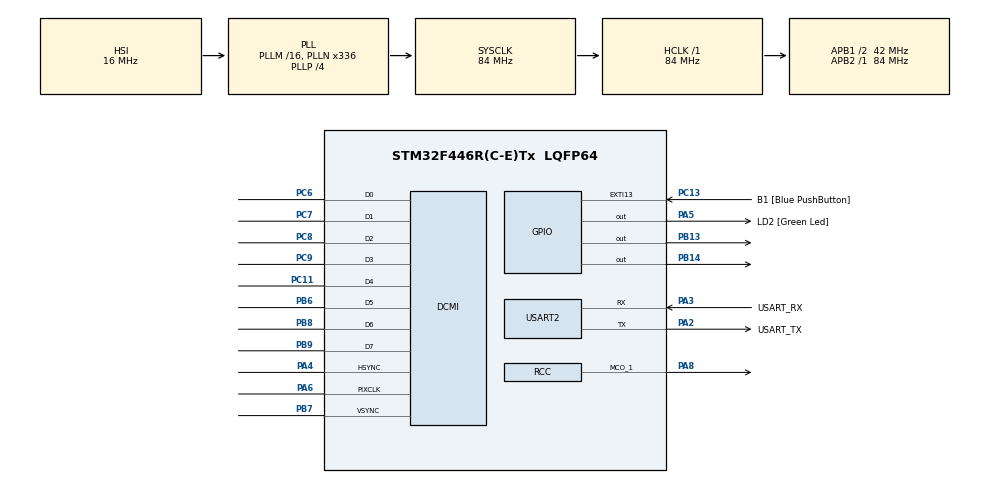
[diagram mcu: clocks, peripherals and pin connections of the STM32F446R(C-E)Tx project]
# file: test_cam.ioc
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DCMI.ByteSelectMode=DCMI_BSM_ALL
DCMI.JPEGMode=DCMI_JPEG_DISABLE
DCMI.PCKPolarity=DCMI_PCKPOLARITY_RISING
DCMI.VSPolarity=DCMI_VSPOLARITY_HIGH
Dma.DCMI.0.Direction=DMA_PERIPH_TO_MEMORY
Dma.DCMI.0.FIFOMode=DMA_FIFOMODE_ENABLE
Dma.DCMI.0.FIFOThreshold=DMA_FIFO_THRESHOLD_FULL
Dma.DCMI.0.Instance=DMA2_Stream1
Dma.DCMI.0.MemBurst=DMA_MBURST_SINGLE
Dma.DCMI.0.MemDataAlignment=DMA_MDATAALIGN_WORD
Dma.DCMI.0.MemInc=DMA_MINC_ENABLE
Dma.DCMI.0.Mode=DMA_NORMAL
Dma.DCMI.0.PeriphBurst=DMA_PBURST_SINGLE
Dma.DCMI.0.PeriphDataAlignment=DMA_PDATAALIGN_WORD
Dma.DCMI.0.PeriphInc=DMA_PINC_DISABLE
Dma.DCMI.0.Priority=DMA_PRIORITY_VERY_HIGH
Dma.Request0=DCMI
Mcu.Family=STM32F4
Mcu.Name=STM32F446R(C-E)Tx
Mcu.Package=LQFP64
NVIC.DCMI_IRQn=true\:0\:0\:false\:false\:true\:true\:true\:true
NVIC.DMA2_Stream1_IRQn=true\:0\:0\:false\:false\:true\:false\:true\:true
NVIC.PriorityGroup=NVIC_PRIORITYGROUP_0
PA13.GPIO_Label=TMS
PA13.Mode=Serial_Wire
PA13.Signal=SYS_JTMS-SWDIO
PA14.GPIO_Label=TCK
PA14.Mode=Serial_Wire
PA14.Signal=SYS_JTCK-SWCLK
PA2.GPIO_Label=USART_TX
PA2.Mode=Asynchronous
PA2.Signal=USART2_TX
PA3.GPIO_Label=USART_RX
PA3.Mode=Asynchronous
PA3.Signal=USART2_RX
PA4.Mode=Slave_8_bits_External_Synchro
PA4.Signal=DCMI_HSYNC
PA5.GPIO_Label=LD2 [Green Led]
PA5.Signal=GPIO_Output
PA6.Mode=Slave_8_bits_External_Synchro
PA6.Signal=DCMI_PIXCLK
PA8.Mode=Clock-out-1
PA8.Signal=RCC_MCO_1
PB13.Signal=GPIO_Output
PB14.Signal=GPIO_Output
PB3.GPIO_Label=SWO
PB3.Signal=SYS_JTDO-SWO
PB6.Mode=Slave_8_bits_External_Synchro
PB6.Signal=DCMI_D5
PB7.Mode=Slave_8_bits_External_Synchro
PB7.Signal=DCMI_VSYNC
PB8.Mode=Slave_8_bits_External_Synchro
PB8.Signal=DCMI_D6
PB9.Mode=Slave_8_bits_External_Synchro
PB9.Signal=DCMI_D7
PC11.Mode=Slave_8_bits_External_Synchro
PC11.Signal=DCMI_D4
PC13.GPIO_Label=B1 [Blue PushButton]
PC13.GPIO_ModeDefaultEXTI=GPIO_MODE_IT_FALLING
PC13.Signal=GPXTI13
PC14-OSC32_IN.Mode=LSE-External-Oscillator
PC14-OSC32_IN.Signal=RCC_OSC32_IN
PC15-OSC32_OUT.Mode=LSE-External-Oscillator
PC15-OSC32_OUT.Signal=RCC_OSC32_OUT
PC6.Mode=Slave_8_bits_External_Synchro
PC6.Signal=DCMI_D0
PC7.Mode=Slave_8_bits_External_Synchro
PC7.Signal=DCMI_D1
PC8.Mode=Slave_8_bits_External_Synchro
PC8.Signal=DCMI_D2
PC9.Mode=Slave_8_bits_External_Synchro
PC9.Signal=DCMI_D3
PH0-OSC_IN.Mode=HSE-External-Oscillator
PH0-OSC_IN.Signal=RCC_OSC_IN
PH1-OSC_OUT.Mode=HSE-External-Oscillator
PH1-OSC_OUT.Signal=RCC_OSC_OUT
ProjectManager.HeapSize=0x200
ProjectManager.StackSize=0x400
ProjectManager.TargetToolchain=STM32CubeIDE
RCC.48MHZClocksFreq_Value=84000000
RCC.AHBFreq_Value=84000000
RCC.APB1CLKDivider=RCC_HCLK_DIV2
RCC.APB1Freq_Value=42000000
RCC.APB1TimFreq_Value=84000000
RCC.APB2Freq_Value=84000000
RCC.APB2TimFreq_Value=84000000
RCC.CortexFreq_Value=84000000
RCC.FLatency-AdvancedSettings=FLASH_LATENCY_2
RCC.HCLKFreq_Value=84000000
RCC.HSE_VALUE=8000000
RCC.HSI_VALUE=16000000
RCC.PLLN=336
RCC.PLLP=RCC_PLLP_DIV4
RCC.SYSCLKFreq_VALUE=84000000
RCC.SYSCLKSource=RCC_SYSCLKSOURCE_PLLCLK
RCC.USBFreq_Value=168000000
RCC.VCOOutputFreq_Value=336000000
USART2.VirtualMode=VM_ASYNC
board=NUCLEO-F446RE

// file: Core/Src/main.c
/* USER CODE BEGIN Header */
/**
  ******************************************************************************
  * @file           : main.c
  * @brief          : Main program body
  ******************************************************************************
  * @attention
  *
  * Copyright (c) 2026 STMicroelectronics.
  * All rights reserved.
  *
  * This software is licensed under terms that can be found in the LICENSE file
  * in the root directory of this software component.
  * If no LICENSE file comes with this software, it is provided AS-IS.
  *
  ******************************************************************************
  */
/* USER CODE END Header */
#include "main.h"

/* USER CODE BEGIN Includes */
#include <stdio.h>
/* USER CODE END Includes */

/* USER CODE BEGIN PTD */
typedef struct __attribute__((packed))
{
    uint8_t  magic[4];         // 'O', 'V', '7', '6'
    uint16_t width;            // 160
    uint16_t height;           // 120
    uint16_t format;           // 1 = RGB565
    uint16_t bytes_per_pixel;  // 2
    uint32_t payload_len;      // 38400
    uint32_t checksum;         // simple byte-sum
} CameraFrameHeader_t;
/* USER CODE END PTD */

/* USER CODE BEGIN PD */
#define SCCB_SIOC_GPIO_Port GPIOB
#define SCCB_SIOC_Pin       GPIO_PIN_13

#define SCCB_SIOD_GPIO_Port GPIOB
#define SCCB_SIOD_Pin       GPIO_PIN_14

#define OV7670_ADDR_WR      0x42
#define OV7670_ADDR_RD      0x43

#define OV7670_REG_PID      0x0A
#define OV7670_REG_VER      0x0B

#define CAM_W               160
#define CAM_H               120
#define CAM_BYTES_PER_PIXEL 2

#define FRAME_BYTES         (CAM_W * CAM_H * CAM_BYTES_PER_PIXEL)
#define FRAME_WORDS         (FRAME_BYTES / 4)

/* OV7670 common registers */
#define REG_GAIN            0x00
#define REG_BLUE            0x01
#define REG_RED             0x02
#define REG_VREF            0x03
#define REG_COM1            0x04
#define REG_BAVE            0x05
#define REG_GbAVE           0x06
#define REG_AECHH           0x07
#define REG_RAVE            0x08
#define REG_COM2            0x09
#define REG_PID             0x0A
#define REG_VER             0x0B
#define REG_COM3            0x0C
#define REG_COM4            0x0D
#define REG_COM5            0x0E
#define REG_COM6            0x0F
#define REG_AECH            0x10
#define REG_CLKRC           0x11
#define REG_COM7            0x12
#define REG_COM8            0x13
#define REG_COM9            0x14
#define REG_COM10           0x15
#define REG_HSTART          0x17
#define REG_HSTOP           0x18
#define REG_VSTART          0x19
#define REG_VSTOP           0x1A
#define REG_PSHFT           0x1B
#define REG_MIDH            0x1C
#define REG_MIDL            0x1D
#define REG_MVFP            0x1E
#define REG_AEW             0x24
#define REG_AEB             0x25
#define REG_VPT             0x26
#define REG_HREF            0x32
#define REG_TSLB            0x3A
#define REG_COM11           0x3B
#define REG_COM12           0x3C
#define REG_COM13           0x3D
#define REG_COM14           0x3E
#define REG_EDGE            0x3F
#define REG_COM15           0x40
#define REG_COM16           0x41
#define REG_COM17           0x42
#define REG_RGB444          0x8C
#define REG_SCALING_XSC     0x70
#define REG_SCALING_YSC     0x71
#define REG_SCALING_DCWCTR  0x72
#define REG_SCALING_PCLK_DIV 0x73
#define REG_SCALING_PCLK_DELAY 0xA2
#define REG_MTX1 0x4F
#define REG_MTX2 0x50
#define REG_MTX3 0x51
#define REG_MTX4 0x52
#define REG_MTX5 0x53
#define REG_MTX6 0x54
#define REG_MTXS 0x58

#define OV7670_REG_END      0xFF
#define OV7670_REG_DELAY    0xFE

#define FRAME_FORMAT_RGB565 1
#define FRAME_FORMAT_YUV422 2

#define FRAME_MAGIC0 0xA5
#define FRAME_MAGIC1 0x5A
#define FRAME_MAGIC2 0x12
#define FRAME_MAGIC3 0x34
/* USER CODE END PD */

DCMI_HandleTypeDef hdcmi;
DMA_HandleTypeDef hdma_dcmi;

UART_HandleTypeDef huart2;

/* USER CODE BEGIN PV */
__attribute__((aligned(4))) static uint32_t frame_buffer[FRAME_WORDS];

static volatile uint8_t frame_done = 0;
static volatile uint8_t frame_error = 0;
static volatile uint32_t dcmi_error_code = 0;
static volatile uint32_t dma_error_code = 0;
static volatile uint32_t dcmi_sr = 0;
static volatile uint32_t dcmi_risr = 0;
static volatile uint32_t dcmi_misr = 0;
static volatile uint32_t dma_ndtr = 0;
/* USER CODE END PV */

void SystemClock_Config(void);
static void MX_GPIO_Init(void);
static void MX_DMA_Init(void);
static void MX_USART2_UART_Init(void);
static void MX_DCMI_Init(void);
/* USER CODE BEGIN PFP */
static void DWT_Delay_Init(void);
static void delay_us(uint32_t us);

static void OV7670_XCLK_Init(void);
static void SCCB_GPIO_Init(void);

static void SCCB_Start(void);
static void SCCB_Stop(void);
static uint8_t SCCB_WriteByte(uint8_t data);
static uint8_t SCCB_ReadByte_NACK(void);
static uint8_t OV7670_ReadReg(uint8_t reg, uint8_t *data);

static uint8_t OV7670_WriteReg(uint8_t reg, uint8_t data);
static uint8_t OV7670_WriteArray(const uint8_t (*regs)[2]);
static uint8_t OV7670_Init_RGB565_QQVGA_ColorBar(void);
static HAL_StatusTypeDef Camera_StartSnapshot(void);

static uint32_t Camera_Checksum8(const uint8_t *data, uint32_t len);
static void Camera_SendFrame_UART(void);

static uint8_t Camera_CaptureOneFrame(uint32_t timeout_ms);
static void Camera_PrintDcmiError(void);

static uint8_t Camera_IsDmaTransferDone(void);
/* USER CODE END PFP */

/* USER CODE BEGIN 0 */
static const uint8_t ov7670_rgb565_qqvga_colorbar[][2] = {
	/* Reset sensor */
	{REG_COM7, 0x80},
	{OV7670_REG_DELAY, 10},

	/* Lower internal clock */
	{REG_CLKRC, 0x01},

	/* RGB565 */
	{REG_COM7,   0x04},
	{REG_RGB444, 0x00},
	{REG_COM15,  0xD0},
	{REG_TSLB,   0x04},
	{REG_COM13,  0x88},   // 0x88 C0

	/* Auto exposure / gain / white balance */
	{REG_COM8,   0x8F},   // 8F
	{REG_COM9,   0x38},
	{REG_COM16,  0x38},

	{REG_BLUE, 0x80},
	{REG_RED,  0x80},

	/* Neutral color gain start */
//	{REG_BLUE,   0x80},
//	{REG_RED,    0x80},
	{REG_GAIN,   0x00},

	/* Window setting */
	{REG_HSTART, 0x16},
	{REG_HSTOP,  0x04},
	{REG_HREF,   0x24},
	{REG_VSTART, 0x02},
	{REG_VSTOP,  0x7A},
	{REG_VREF,   0x0A},

	/* QQVGA scaler */
	{REG_COM3,   0x04},
	{REG_COM14,  0x1A},

	/*
	 * Normal image:
	 * 0x3A / 0x35 = normal
	 * 0xBA / 0xB5 = color bar
	 */
	{REG_SCALING_XSC,        0x3A},
	{REG_SCALING_YSC,        0x35},
	{REG_SCALING_DCWCTR,     0x22},
	{REG_SCALING_PCLK_DIV,   0xF2},
	{REG_SCALING_PCLK_DELAY, 0x02},

	{REG_COM10, 0x00},

	{OV7670_REG_END, 0x00}
};

static const uint8_t ov7670_rgb565_qqvga_normal[][2] = {
		/* Reset sensor */
		{REG_COM7, 0x80},
		{OV7670_REG_DELAY, 10},

		/* Lower internal clock */
		{REG_CLKRC, 0x01},

		/* RGB565 */
		{REG_COM7,   0x04},
		{REG_RGB444, 0x00},
		{REG_COM15,  0xD0},
		{REG_TSLB,   0x04},
		{REG_COM13,  0x88},   // 0x88 C0

		/* Auto exposure / gain / white balance */
		{REG_COM8,   0x8F},   // 8F
		{REG_COM9,   0x38},
		{REG_COM16,  0x38},

		{REG_BLUE, 0x80},
		{REG_RED,  0x80},

		/* Neutral color gain start */
	//	{REG_BLUE,   0x80},
	//	{REG_RED,    0x80},
		{REG_GAIN,   0x00},

		/* Window setting */
		{REG_HSTART, 0x16},
		{REG_HSTOP,  0x04},
		{REG_HREF,   0x24},
		{REG_VSTART, 0x02},
		{REG_VSTOP,  0x7A},
		{REG_VREF,   0x0A},

		/* QQVGA scaler */
		{REG_COM3,   0x04},
		{REG_COM14,  0x1A},

		/*
		 * Normal image:
		 * 0x3A / 0x35 = normal
		 * 0xBA / 0xB5 = color bar
		 */
		{REG_SCALING_XSC,        0x3A},
		{REG_SCALING_YSC,        0x35},
		{REG_SCALING_DCWCTR,     0x22},
		{REG_SCALING_PCLK_DIV,   0xF2},
		{REG_SCALING_PCLK_DELAY, 0x02},

		{REG_COM10, 0x00},

		{OV7670_REG_END, 0x00}
};

static const uint8_t ov7670_yuv422_qqvga_normal[][2] = {
		/* Reset sensor */
		{REG_COM7, 0x80},
		{OV7670_REG_DELAY, 10},

		/* Lower internal clock */
		{REG_CLKRC, 0x01},

		/* RGB565 */
		{REG_COM7,   0x04},
		{REG_RGB444, 0x00},
		{REG_COM15,  0xD0},
		{REG_TSLB,   0x04},
		{REG_COM9,   0x18},
		{REG_COM13,  0x88},   // 0x88 C0

		/* MTXs */
		{0x4F, 0xB3},
		{0x50, 0xB3},
		{0x51, 0x00},
		{0x52, 0x3D},
		{0x53, 0xA7},
		{0x54, 0xE4},
		{0x58, 0x9E},

		/* Window setting */
		{REG_HSTART, 0x16},
		{REG_HSTOP,  0x04},
		{REG_HREF,   0x24},
		{REG_VSTART, 0x02},
		{REG_VSTOP,  0x7A},
		{REG_VREF,   0x0A},

		{REG_COM6, 0x41},
		{0x33, 0x0B},
		{0x3C, 0x78},
		{0x69, 0x00},
		{0x74, 0x00},
		{0xB0, 0x84},
		{0xB1, 0x0C},
		{0xB2, 0x0E},
		{0xB3, 0x80},

		/* QQVGA scaler */
		{REG_COM3,   0x04},
		{REG_COM14,  0x1A},

		{0x7A, 0x20},
		{0x7B, 0x10},
		{0x7C, 0x1E},
		{0x7D, 0x35},
		{0x7E, 0x5A},
		{0x7F, 0x69},
		{0x80, 0x76},
		{0x81, 0x80},
		{0x82, 0x88},
		{0x83, 0x8F},
		{0x84, 0x96},
		{0x85, 0xA3},
		{0x86, 0xAF},
		{0x87, 0xC4},
		{0x88, 0xD7},
		{0x89, 0xE8},
		{0x13, 0xE0},
		{0x00, 0x00},
		{0x10, 0x00},
		{0x0D, 0x40},
		{0x14, 0x18},
		{0xA5, 0x05},
		{0xAB, 0x07},
		{0x24, 0x95},
		{0x25, 0x33},
		{0x26, 0xE3},
		{0x9F, 0x78},
		{0xA0, 0x68},
		{0xA1, 0x03},
		{0xA6, 0xD8},
		{0xA7, 0xD8},
		{0xA8, 0xF0},
		{0xA9, 0x90},
		{0xAA, 0x94},
		{0x13, 0xE5},

		/*
		 * Normal image:
		 * 0x3A / 0x35 = normal
		 * 0xBA / 0xB5 = color bar
		 */
		{REG_SCALING_XSC,        0x3A},
		{REG_SCALING_YSC,        0x35},
		{REG_SCALING_DCWCTR,     0x22},
		{REG_SCALING_PCLK_DIV,   0xF2},
		{REG_SCALING_PCLK_DELAY, 0x02},

		{REG_COM10, 0x00},

		{OV7670_REG_END, 0x00}
};

int _write(int file, char *ptr, int len)
{
    HAL_UART_Transmit(&huart2, (uint8_t *)ptr, len, HAL_MAX_DELAY);
    return len;
}

static void DWT_Delay_Init(void)
{
    CoreDebug->DEMCR |= CoreDebug_DEMCR_TRCENA_Msk;
    DWT->CYCCNT = 0;
    DWT->CTRL |= DWT_CTRL_CYCCNTENA_Msk;
}

static void delay_us(uint32_t us)
{
    uint32_t start = DWT->CYCCNT;
    uint32_t ticks = us * (SystemCoreClock / 1000000UL);

    while ((DWT->CYCCNT - start) < ticks) {
        ;
    }
}

static void OV7670_XCLK_Init(void)
{
    __HAL_RCC_HSI_ENABLE();
    while (__HAL_RCC_GET_FLAG(RCC_FLAG_HSIRDY) == RESET) {
        ;
    }

    // PA8 = MCO1, output HSI 16 MHz
    HAL_RCC_MCOConfig(RCC_MCO1, RCC_MCO1SOURCE_HSI, RCC_MCODIV_1);
}

static void SCCB_GPIO_Init(void)
{
    GPIO_InitTypeDef GPIO_InitStruct = {0};

    __HAL_RCC_GPIOB_CLK_ENABLE();

    GPIO_InitStruct.Pin = SCCB_SIOC_Pin | SCCB_SIOD_Pin;
    GPIO_InitStruct.Mode = GPIO_MODE_OUTPUT_OD;
    GPIO_InitStruct.Pull = GPIO_PULLUP;
    GPIO_InitStruct.Speed = GPIO_SPEED_FREQ_HIGH;
    HAL_GPIO_Init(GPIOB, &GPIO_InitStruct);

    HAL_GPIO_WritePin(SCCB_SIOC_GPIO_Port, SCCB_SIOC_Pin, GPIO_PIN_SET);
    HAL_GPIO_WritePin(SCCB_SIOD_GPIO_Port, SCCB_SIOD_Pin, GPIO_PIN_SET);
}

static inline void SIOC_HIGH(void)
{
    HAL_GPIO_WritePin(SCCB_SIOC_GPIO_Port, SCCB_SIOC_Pin, GPIO_PIN_SET);
}

static inline void SIOC_LOW(void)
{
    HAL_GPIO_WritePin(SCCB_SIOC_GPIO_Port, SCCB_SIOC_Pin, GPIO_PIN_RESET);
}

static inline void SIOD_HIGH(void)
{
    // open-drain high = release line
    HAL_GPIO_WritePin(SCCB_SIOD_GPIO_Port, SCCB_SIOD_Pin, GPIO_PIN_SET);
}

static inline void SIOD_LOW(void)
{
    HAL_GPIO_WritePin(SCCB_SIOD_GPIO_Port, SCCB_SIOD_Pin, GPIO_PIN_RESET);
}

static inline GPIO_PinState SIOD_READ(void)
{
    return HAL_GPIO_ReadPin(SCCB_SIOD_GPIO_Port, SCCB_SIOD_Pin);
}

static void SCCB_Start(void)
{
    SIOD_HIGH();
    SIOC_HIGH();
    delay_us(5);

    SIOD_LOW();
    delay_us(5);

    SIOC_LOW();
    delay_us(5);
}

static void SCCB_Stop(void)
{
    SIOD_LOW();
    delay_us(5);

    SIOC_HIGH();
    delay_us(5);

    SIOD_HIGH();
    delay_us(5);
}

static uint8_t SCCB_WriteByte(uint8_t data)
{
    for (int i = 0; i < 8; i++) {
        if (data & 0x80) {
            SIOD_HIGH();
        } else {
            SIOD_LOW();
        }

        delay_us(5);
        SIOC_HIGH();
        delay_us(5);
        SIOC_LOW();
        delay_us(5);

        data <<= 1;
    }

    // Release SIOD for ACK
    SIOD_HIGH();
    delay_us(5);

    SIOC_HIGH();
    delay_us(5);

    // ACK = SIOD pulled low by slave
    uint8_t ack = (SIOD_READ() == GPIO_PIN_RESET);

    SIOC_LOW();
    delay_us(5);

    return ack;
}

static uint8_t SCCB_ReadByte_NACK(void)
{
    uint8_t data = 0;

    // Release SIOD so camera can drive it
    SIOD_HIGH();

    for (int i = 0; i < 8; i++) {
        data <<= 1;

        SIOC_HIGH();
        delay_us(5);

        if (SIOD_READ() == GPIO_PIN_SET) {
            data |= 0x01;
        }

        SIOC_LOW();
        delay_us(5);
    }

    // Send NACK: keep SIOD high during 9th clock
    SIOD_HIGH();
    delay_us(5);

    SIOC_HIGH();
    delay_us(5);

    SIOC_LOW();
    delay_us(5);

    return data;
}

static uint8_t OV7670_ReadReg(uint8_t reg, uint8_t *data)
{
    // Write register address
    SCCB_Start();

    if (!SCCB_WriteByte(OV7670_ADDR_WR)) {
        SCCB_Stop();
        return 0;
    }

    if (!SCCB_WriteByte(reg)) {
        SCCB_Stop();
        return 0;
    }

    SCCB_Stop();
    delay_us(10);

    // Read register data
    SCCB_Start();

    if (!SCCB_WriteByte(OV7670_ADDR_RD)) {
        SCCB_Stop();
        return 0;
    }

    *data = SCCB_ReadByte_NACK();

    SCCB_Stop();

    return 1;
}

static uint8_t OV7670_WriteReg(uint8_t reg, uint8_t data)
{
    SCCB_Start();

    if (!SCCB_WriteByte(OV7670_ADDR_WR)) {
        SCCB_Stop();
        return 0;
    }

    if (!SCCB_WriteByte(reg)) {
        SCCB_Stop();
        return 0;
    }

    if (!SCCB_WriteByte(data)) {
        SCCB_Stop();
        return 0;
    }

    SCCB_Stop();
    delay_us(100);

    return 1;
}

static uint8_t OV7670_WriteArray(const uint8_t (*regs)[2])
{
    uint16_t i = 0;

    while (1) {
        uint8_t reg = regs[i][0];
        uint8_t val = regs[i][1];

        if (reg == OV7670_REG_END) {
            break;
        }

        if (reg == OV7670_REG_DELAY) {
            HAL_Delay(val);
        } else {
            if (!OV7670_WriteReg(reg, val)) {
                printf("Write reg failed: reg=0x%02X val=0x%02X\r\n", reg, val);
                return 0;
            }
        }

        i++;
    }

    return 1;
}

static uint8_t OV7670_Init_RGB565_QQVGA_ColorBar(void)
{
    uint8_t pid = 0;
    uint8_t ver = 0;

    printf("Checking OV7670 ID...\r\n");

    if (!OV7670_ReadReg(OV7670_REG_PID, &pid)) {
        printf("PID read failed\r\n");
        return 0;
    }

    if (!OV7670_ReadReg(OV7670_REG_VER, &ver)) {
        printf("VER read failed\r\n");
        return 0;
    }

    printf("PID=0x%02X VER=0x%02X\r\n", pid, ver);

    if (pid != 0x76 || ver != 0x73) {
        printf("OV7670 ID mismatch\r\n");
        return 0;
    }

    printf("Writing OV7670 RGB565 QQVGA init table...\r\n");

    if (!OV7670_WriteArray(ov7670_yuv422_qqvga_normal)) {
        printf("OV7670 init failed\r\n");
        return 0;
    }

    HAL_Delay(100);

    printf("OV7670 init OK\r\n");
    return 1;
}

static HAL_StatusTypeDef Camera_StartSnapshot(void)
{
    HAL_StatusTypeDef ret;

    frame_done = 0;
    frame_error = 0;
    dcmi_error_code = 0;
    dma_error_code = 0;
    dcmi_sr = 0;
    dcmi_risr = 0;
    dcmi_misr = 0;
    dma_ndtr = 0;

    /*
     * 重要：
     * 每次重新 capture 前，先停止 DCMI/DMA。
     * 尤其是連續 warm-up frame 時，這步很重要。
     */
    HAL_DCMI_Stop(&hdcmi);
    HAL_Delay(2);

    /*
     * 清掉 DCMI interrupt flags。
     */
    __HAL_DCMI_CLEAR_FLAG(&hdcmi,
                          DCMI_FLAG_FRAMERI |
                          DCMI_FLAG_OVRRI   |
                          DCMI_FLAG_ERRRI   |
                          DCMI_FLAG_VSYNCRI |
                          DCMI_FLAG_LINERI);

    hdcmi.ErrorCode = HAL_DCMI_ERROR_NONE;

    for (uint32_t i = 0; i < FRAME_WORDS; i++) {
        frame_buffer[i] = 0x00000000;
    }

    printf("Start DCMI snapshot...\r\n");
    printf("Frame size = %lu bytes, DMA words = %lu\r\n",
           (uint32_t)FRAME_BYTES,
           (uint32_t)FRAME_WORDS);

    ret = HAL_DCMI_Start_DMA(&hdcmi,
                             DCMI_MODE_SNAPSHOT,
                             (uint32_t)frame_buffer,
                             FRAME_WORDS);

    if (ret != HAL_OK) {
        printf("HAL_DCMI_Start_DMA failed, ret=%d\r\n", ret);
        frame_error = 1;
    }

    return ret;
}

static uint8_t Camera_CaptureOneFrame(uint32_t timeout_ms)
{
    if (Camera_StartSnapshot() != HAL_OK) {
        return 0;
    }

    uint32_t start_tick = HAL_GetTick();

    while (!frame_done && !frame_error) {
        /*
         * 有些情況 DCMI FrameEvent callback 沒進來，
         * 但 DMA 其實已經把 buffer 搬完。
         * 對固定大小 frame 來說，NDTR == 0 可以視為完成。
         */
        if (Camera_IsDmaTransferDone()) {
            frame_done = 1;
            break;
        }

        if ((HAL_GetTick() - start_tick) > timeout_ms) {
            /*
             * timeout 前再檢查一次 NDTR。
             * 你的 log 就是這種情況：NDTR=0，但 frame_done 沒被設起來。
             */
            if (Camera_IsDmaTransferDone()) {
                frame_done = 1;
                break;
            }

            printf("DCMI snapshot timeout\r\n");
            frame_error = 1;
            break;
        }
    }

    HAL_DCMI_Stop(&hdcmi);

    if (frame_error) {
        Camera_PrintDcmiError();
        return 0;
    }

    if (!frame_done) {
        printf("Frame not captured\r\n");
        return 0;
    }

    printf("Frame captured OK\r\n");
    return 1;
}

static uint32_t Camera_Checksum8(const uint8_t *data, uint32_t len)
{
    uint32_t sum = 0;

    for (uint32_t i = 0; i < len; i++) {
        sum += data[i];
    }

    return sum;
}

static void Camera_SendFrame_UART(void)
{
    const uint8_t *payload = (const uint8_t *)frame_buffer;

    CameraFrameHeader_t header = {
        .magic = {FRAME_MAGIC0, FRAME_MAGIC1, FRAME_MAGIC2, FRAME_MAGIC3},
        .width = CAM_W,
        .height = CAM_H,
        .format = FRAME_FORMAT_RGB565,
        .bytes_per_pixel = CAM_BYTES_PER_PIXEL,
        .payload_len = FRAME_BYTES,
        .checksum = Camera_Checksum8(payload, FRAME_BYTES)
    };

    printf("\r\nBEGIN_BINARY_FRAME\r\n");
    HAL_Delay(50);

    HAL_UART_Transmit(&huart2,
                      (uint8_t *)&header,
                      sizeof(header),
                      HAL_MAX_DELAY);

    HAL_UART_Transmit(&huart2,
                      (uint8_t *)payload,
                      FRAME_BYTES,
                      HAL_MAX_DELAY);

    HAL_Delay(20);
    printf("\r\nEND_BINARY_FRAME\r\n");
}

static uint8_t Camera_IsDmaTransferDone(void)
{
    if (hdcmi.DMA_Handle == NULL) {
        return 0;
    }

    if (hdcmi.DMA_Handle->Instance == NULL) {
        return 0;
    }

    return (hdcmi.DMA_Handle->Instance->NDTR == 0);
}
/* USER CODE END 0 */

int main(void)
{

  /* MCU Configuration--------------------------------------------------------*/

  /* Reset of all peripherals, Initializes the Flash interface and the Systick. */
  HAL_Init();

  /* Configure the system clock */
  SystemClock_Config();

  /* Initialize all configured peripherals */
  MX_GPIO_Init();
  MX_DMA_Init();
  MX_USART2_UART_Init();
  MX_DCMI_Init();
  /* USER CODE BEGIN 2 */
  DWT_Delay_Init();

  printf("\r\n===== OV7670 DCMI Snapshot Test =====\r\n");

  OV7670_XCLK_Init();
  printf("XCLK started on PA8\r\n");

  SCCB_GPIO_Init();
  printf("SCCB ready: PB13=SIOC, PB14=SIOD\r\n");

  HAL_Delay(50);

  if (!OV7670_Init_RGB565_QQVGA_ColorBar()) {
      printf("Camera init failed. Stop here.\r\n");
      while (1) {
          HAL_Delay(1000);
      }
  }

  for (int i = 0; i < 5; i++) {
      printf("Capture warm-up frame %d...\r\n", i + 1);

      if (!Camera_CaptureOneFrame(5000)) {
          printf("Capture failed at frame %d\r\n", i + 1);

          while (1) {
              HAL_Delay(1000);
          }
      }

      HAL_Delay(100);
  }

  printf("Sending final frame...\r\n");
  Camera_SendFrame_UART();
  printf("Frame sent over UART\r\n");
  /* USER CODE END 2 */

  /* Infinite loop */
  /* USER CODE BEGIN WHILE */
  while (1)
  {
      HAL_Delay(1000);
    /* USER CODE END WHILE */

  }
}

void SystemClock_Config(void)
{
  RCC_OscInitTypeDef RCC_OscInitStruct = {0};
  RCC_ClkInitTypeDef RCC_ClkInitStruct = {0};

  /** Configure the main internal regulator output voltage
  */
  __HAL_RCC_PWR_CLK_ENABLE();
  __HAL_PWR_VOLTAGESCALING_CONFIG(PWR_REGULATOR_VOLTAGE_SCALE3);

  /** Initializes the RCC Oscillators according to the specified parameters
  * in the RCC_OscInitTypeDef structure.
  */
  RCC_OscInitStruct.OscillatorType = RCC_OSCILLATORTYPE_HSI;
  RCC_OscInitStruct.HSIState = RCC_HSI_ON;
  RCC_OscInitStruct.HSICalibrationValue = RCC_HSICALIBRATION_DEFAULT;
  RCC_OscInitStruct.PLL.PLLState = RCC_PLL_ON;
  RCC_OscInitStruct.PLL.PLLSource = RCC_PLLSOURCE_HSI;
  RCC_OscInitStruct.PLL.PLLM = 16;
  RCC_OscInitStruct.PLL.PLLN = 336;
  RCC_OscInitStruct.PLL.PLLP = RCC_PLLP_DIV4;
  RCC_OscInitStruct.PLL.PLLQ = 2;
  RCC_OscInitStruct.PLL.PLLR = 2;
  if (HAL_RCC_OscConfig(&RCC_OscInitStruct) != HAL_OK)
  {
    Error_Handler();
  }

  /** Initializes the CPU, AHB and APB buses clocks
  */
  RCC_ClkInitStruct.ClockType = RCC_CLOCKTYPE_HCLK|RCC_CLOCKTYPE_SYSCLK
                              |RCC_CLOCKTYPE_PCLK1|RCC_CLOCKTYPE_PCLK2;
  RCC_ClkInitStruct.SYSCLKSource = RCC_SYSCLKSOURCE_PLLCLK;
  RCC_ClkInitStruct.AHBCLKDivider = RCC_SYSCLK_DIV1;
  RCC_ClkInitStruct.APB1CLKDivider = RCC_HCLK_DIV2;
  RCC_ClkInitStruct.APB2CLKDivider = RCC_HCLK_DIV1;

  if (HAL_RCC_ClockConfig(&RCC_ClkInitStruct, FLASH_LATENCY_2) != HAL_OK)
  {
    Error_Handler();
  }
  HAL_RCC_MCOConfig(RCC_MCO1, RCC_MCO1SOURCE_HSI, RCC_MCODIV_1);
}

static void MX_DCMI_Init(void)
{

  hdcmi.Instance = DCMI;
  hdcmi.Init.SynchroMode = DCMI_SYNCHRO_HARDWARE;
  hdcmi.Init.PCKPolarity = DCMI_PCKPOLARITY_RISING;
  hdcmi.Init.VSPolarity = DCMI_VSPOLARITY_HIGH;
  hdcmi.Init.HSPolarity = DCMI_HSPOLARITY_LOW;
  hdcmi.Init.CaptureRate = DCMI_CR_ALL_FRAME;
  hdcmi.Init.ExtendedDataMode = DCMI_EXTEND_DATA_8B;
  hdcmi.Init.JPEGMode = DCMI_JPEG_DISABLE;
  hdcmi.Init.ByteSelectMode = DCMI_BSM_ALL;
  hdcmi.Init.ByteSelectStart = DCMI_OEBS_ODD;
  hdcmi.Init.LineSelectMode = DCMI_LSM_ALL;
  hdcmi.Init.LineSelectStart = DCMI_OELS_ODD;
  if (HAL_DCMI_Init(&hdcmi) != HAL_OK)
  {
    Error_Handler();
  }

}

static void MX_USART2_UART_Init(void)
{

  huart2.Instance = USART2;
  huart2.Init.BaudRate = 921600;
  huart2.Init.WordLength = UART_WORDLENGTH_8B;
  huart2.Init.StopBits = UART_STOPBITS_1;
  huart2.Init.Parity = UART_PARITY_NONE;
  huart2.Init.Mode = UART_MODE_TX_RX;
  huart2.Init.HwFlowCtl = UART_HWCONTROL_NONE;
  huart2.Init.OverSampling = UART_OVERSAMPLING_16;
  if (HAL_UART_Init(&huart2) != HAL_OK)
  {
    Error_Handler();
  }

}

static void MX_DMA_Init(void)
{

  /* DMA controller clock enable */
  __HAL_RCC_DMA2_CLK_ENABLE();

  /* DMA interrupt init */
  /* DMA2_Stream1_IRQn interrupt configuration */
  HAL_NVIC_SetPriority(DMA2_Stream1_IRQn, 0, 0);
  HAL_NVIC_EnableIRQ(DMA2_Stream1_IRQn);

}

static void MX_GPIO_Init(void)
{
  GPIO_InitTypeDef GPIO_InitStruct = {0};

  /* GPIO Ports Clock Enable */
  __HAL_RCC_GPIOC_CLK_ENABLE();
  __HAL_RCC_GPIOH_CLK_ENABLE();
  __HAL_RCC_GPIOA_CLK_ENABLE();
  __HAL_RCC_GPIOB_CLK_ENABLE();

  /*Configure GPIO pin Output Level */
  HAL_GPIO_WritePin(LD2_GPIO_Port, LD2_Pin, GPIO_PIN_RESET);

  /*Configure GPIO pin Output Level */
  HAL_GPIO_WritePin(GPIOB, GPIO_PIN_13|GPIO_PIN_14, GPIO_PIN_RESET);

  /*Configure GPIO pin : B1_Pin */
  GPIO_InitStruct.Pin = B1_Pin;
  GPIO_InitStruct.Mode = GPIO_MODE_IT_FALLING;
  GPIO_InitStruct.Pull = GPIO_NOPULL;
  HAL_GPIO_Init(B1_GPIO_Port, &GPIO_InitStruct);

  /*Configure GPIO pin : LD2_Pin */
  GPIO_InitStruct.Pin = LD2_Pin;
  GPIO_InitStruct.Mode = GPIO_MODE_OUTPUT_PP;
  GPIO_InitStruct.Pull = GPIO_NOPULL;
  GPIO_InitStruct.Speed = GPIO_SPEED_FREQ_LOW;
  HAL_GPIO_Init(LD2_GPIO_Port, &GPIO_InitStruct);

  /*Configure GPIO pins : PB13 PB14 */
  GPIO_InitStruct.Pin = GPIO_PIN_13|GPIO_PIN_14;
  GPIO_InitStruct.Mode = GPIO_MODE_OUTPUT_PP;
  GPIO_InitStruct.Pull = GPIO_NOPULL;
  GPIO_InitStruct.Speed = GPIO_SPEED_FREQ_LOW;
  HAL_GPIO_Init(GPIOB, &GPIO_InitStruct);

  /*Configure GPIO pin : PA8 */
  GPIO_InitStruct.Pin = GPIO_PIN_8;
  GPIO_InitStruct.Mode = GPIO_MODE_AF_PP;
  GPIO_InitStruct.Pull = GPIO_NOPULL;
  GPIO_InitStruct.Speed = GPIO_SPEED_FREQ_LOW;
  GPIO_InitStruct.Alternate = GPIO_AF0_MCO;
  HAL_GPIO_Init(GPIOA, &GPIO_InitStruct);

}

/* USER CODE BEGIN 4 */

void HAL_DCMI_FrameEventCallback(DCMI_HandleTypeDef *hdcmi)
{
    frame_done = 1;
}

void HAL_DCMI_ErrorCallback(DCMI_HandleTypeDef *hdcmi)
{
    dcmi_error_code = HAL_DCMI_GetError(hdcmi);

    if (hdcmi->DMA_Handle != NULL) {
        dma_error_code = HAL_DMA_GetError(hdcmi->DMA_Handle);
        dma_ndtr = hdcmi->DMA_Handle->Instance->NDTR;
    }

    dcmi_sr = hdcmi->Instance->SR;
    dcmi_risr = hdcmi->Instance->RISR;
    dcmi_misr = hdcmi->Instance->MISR;

    frame_error = 1;
}

static void Camera_PrintDcmiError(void)
{
    printf("DCMI error: 0x%08lX\r\n", dcmi_error_code);

    if (dcmi_error_code & HAL_DCMI_ERROR_OVR) {
        printf("  - HAL_DCMI_ERROR_OVR: DCMI FIFO overrun\r\n");
    }

    if (dcmi_error_code & HAL_DCMI_ERROR_SYNC) {
        printf("  - HAL_DCMI_ERROR_SYNC: synchronization error\r\n");
    }

    if (dcmi_error_code & HAL_DCMI_ERROR_TIMEOUT) {
        printf("  - HAL_DCMI_ERROR_TIMEOUT\r\n");
    }

    if (dcmi_error_code & HAL_DCMI_ERROR_DMA) {
        printf("  - HAL_DCMI_ERROR_DMA\r\n");
    }

    printf("DMA error : 0x%08lX\r\n", dma_error_code);
    printf("DMA NDTR  : %lu\r\n", dma_ndtr);
    printf("DCMI SR   : 0x%08lX\r\n", dcmi_sr);
    printf("DCMI RISR : 0x%08lX\r\n", dcmi_risr);
    printf("DCMI MISR : 0x%08lX\r\n", dcmi_misr);
}
/* USER CODE END 4 */

void Error_Handler(void)
{
  __disable_irq();
  while (1)
  {
  }
}
